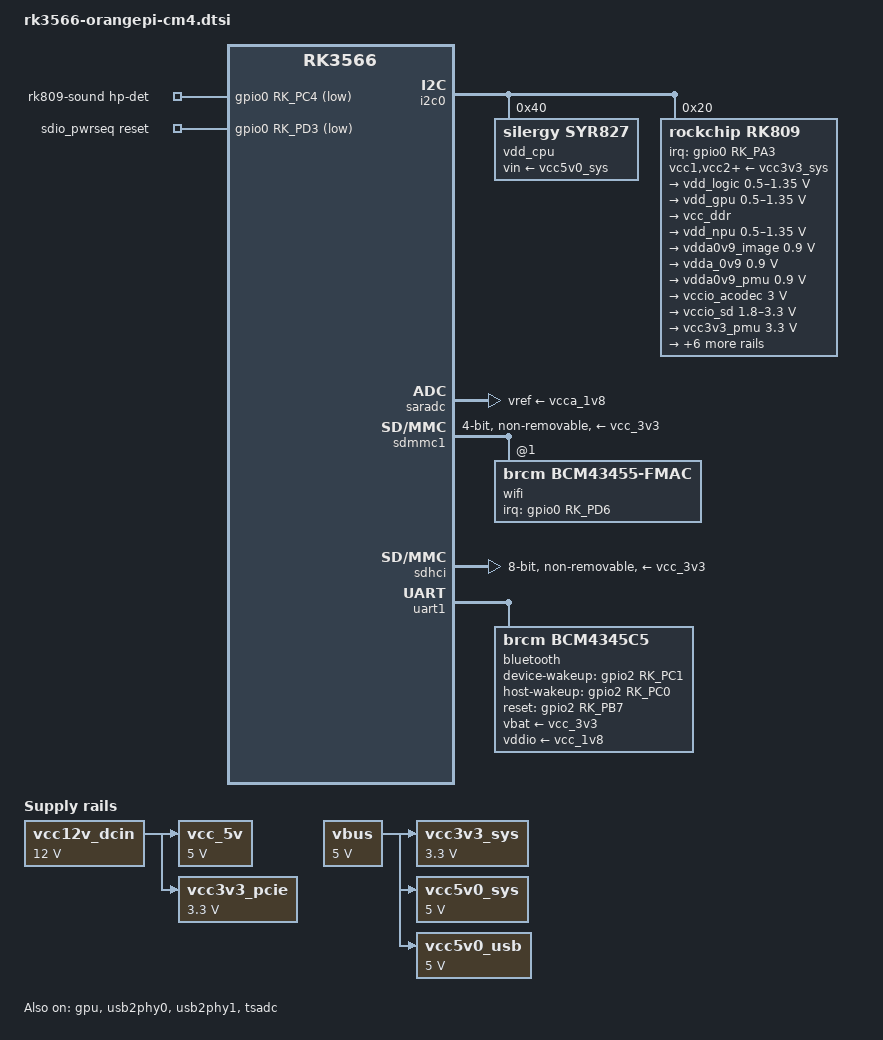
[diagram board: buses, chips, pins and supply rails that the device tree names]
// SPDX-License-Identifier: (GPL-2.0+ OR MIT)
/*
 * Copyright (c) 2022 Radxa Limited
 * Copyright (c) 2022 Amarula Solutions(India)
 */

#include <dt-bindings/gpio/gpio.h>
#include <dt-bindings/leds/common.h>

/ {
	compatible = "orangepi,cm4", "rockchip,rk3566";

	aliases {
		mmc0 = &sdhci;
	};

  /* TBD; no info in status LED on SoM
	leds {
		compatible = "gpio-leds";

		led-0 {
			gpios = <&gpio0 RK_PA6 GPIO_ACTIVE_HIGH>;
			color = <LED_COLOR_ID_GREEN>;
			function = LED_FUNCTION_STATUS;
			linux,default-trigger = "timer";
			default-state = "on";
			pinctrl-names = "default";
			pinctrl-0 = <&user_led2>;
		};
	};
  */

	rk809-sound {
		compatible = "simple-audio-card";
		pinctrl-names = "default";
		pinctrl-0 = <&hp_det>;
		simple-audio-card,name = "Analog RK809";
		simple-audio-card,format = "i2s";
		simple-audio-card,hp-det-gpio = <&gpio0 RK_PC4 GPIO_ACTIVE_LOW>;
		simple-audio-card,mclk-fs = <256>;
		simple-audio-card,widgets =
			"Headphone", "Headphones",
			"Speaker", "Speaker";
		simple-audio-card,routing =
			"Headphones", "HPOL",
			"Headphones", "HPOR",
			"Speaker", "SPKO";

		simple-audio-card,cpu {
			sound-dai = <&i2s1_8ch>;
		};

		simple-audio-card,codec {
			sound-dai = <&rk809>;
		};
	};

	/* labeled +12v in schematic */
	vcc12v_dcin: vcc12v-dcin-regulator {
		compatible = "regulator-fixed";
		regulator-name = "vcc12v_dcin";
		regulator-always-on;
		regulator-boot-on;
		regulator-min-microvolt = <12000000>;
		regulator-max-microvolt = <12000000>;
	};

  /* regulators copied from opi dts */

	/* labeled +5v in schematic */
	vcc_5v: vcc-5v-regulator {
		compatible = "regulator-fixed";
		regulator-name = "vcc_5v";
		regulator-always-on;
		regulator-boot-on;
		regulator-min-microvolt = <5000000>;
		regulator-max-microvolt = <5000000>;
		vin-supply = <&vcc12v_dcin>;
	};

	vbus: vbus {
		compatible = "regulator-fixed";
		regulator-name = "vbus";
		regulator-always-on;
		regulator-boot-on;
		regulator-min-microvolt = <5000000>;
		regulator-max-microvolt = <5000000>;
	};

	/* labeled +3.3v For PCIe only in schematic */
	vcc3v3_pcie: vcc3v3-pcie-regulator {
		compatible = "regulator-fixed";
		regulator-name = "vcc3v3_pcie";
		regulator-always-on;
		regulator-boot-on;
		regulator-min-microvolt = <3300000>;
		regulator-max-microvolt = <3300000>;
		vin-supply = <&vcc12v_dcin>;
	};

	vcc3v3_sys: vcc3v3-sys {
		compatible = "regulator-fixed";
		regulator-name = "vcc3v3_sys";
		regulator-always-on;
		regulator-boot-on;
		regulator-min-microvolt = <3300000>;
		regulator-max-microvolt = <3300000>;
		vin-supply = <&vbus>;
	};

	vcc5v0_sys: vcc5v0-sys {
		compatible = "regulator-fixed";
		regulator-name = "vcc5v0_sys";
		regulator-always-on;
		regulator-boot-on;
		regulator-min-microvolt = <5000000>;
		regulator-max-microvolt = <5000000>;
		vin-supply = <&vbus>;
	};

	vcc5v0_usb: vcc5v0-usb {
		compatible = "regulator-fixed";
		regulator-name = "vcc5v0_usb";
		regulator-always-on;
		regulator-boot-on;
		regulator-min-microvolt = <5000000>;
		regulator-max-microvolt = <5000000>;
		vin-supply = <&vbus>;
	};


	sdio_pwrseq: sdio-pwrseq {
		compatible = "mmc-pwrseq-simple";
		clocks = <&rk809 1>;
		clock-names = "ext_clock";
		pinctrl-names = "default";
		pinctrl-0 = <&wifi_enable_h>;

		/*
		 * On the module itself this is one of these (depending
		 * on the actual card populated):
		 * - SDIO_RESET_L_WL_REG_ON
		 * - PDN (power down when low)
		 */
		post-power-on-delay-ms = <200>;
		reset-gpios = <&gpio0 RK_PD3 GPIO_ACTIVE_LOW>;
	};
};

&cpu0 {
	cpu-supply = <&vdd_cpu>;
};

&cpu1 {
	cpu-supply = <&vdd_cpu>;
};

&cpu2 {
	cpu-supply = <&vdd_cpu>;
};

&cpu3 {
	cpu-supply = <&vdd_cpu>;
};

&gpu {
	mali-supply = <&vdd_gpu>;
	status = "okay";
};

&i2c0 {
	status = "okay";

	vdd_cpu: syr837@40 {
		compatible = "silergy,syr827";
		reg = <0x40>;
		vin-supply = <&vcc5v0_sys>;
		regulator-compatible = "fan53555-reg";
		regulator-name = "vdd_cpu";
		regulator-min-microvolt = <712500>;
		regulator-max-microvolt = <1390000>;
		regulator-init-microvolt = <900000>;
		regulator-initial-mode = <1>;
		regulator-ramp-delay = <2300>;
		fcs,suspend-voltage-selector = <1>;
		regulator-boot-on;
		regulator-always-on;
		regulator-state-mem {
			regulator-off-in-suspend;
		};
	};

	rk809: pmic@20 {
		compatible = "rockchip,rk809";
		reg = <0x20>;
		interrupt-parent = <&gpio0>;
		interrupts = <RK_PA3 IRQ_TYPE_LEVEL_LOW>;
		assigned-clocks = <&cru I2S1_MCLKOUT_TX>;
		assigned-clock-parents = <&cru CLK_I2S1_8CH_TX>;
		#clock-cells = <1>;
		clock-names = "mclk";
		clocks = <&cru I2S1_MCLKOUT_TX>;
		pinctrl-names = "default";
		pinctrl-0 = <&pmic_int>, <&i2s1m0_mclk>;
		rockchip,system-power-controller;
		#sound-dai-cells = <0>;
		vcc1-supply = <&vcc3v3_sys>;
		vcc2-supply = <&vcc3v3_sys>;
		vcc3-supply = <&vcc3v3_sys>;
		vcc4-supply = <&vcc3v3_sys>;
		vcc5-supply = <&vcc3v3_sys>;
		vcc6-supply = <&vcc3v3_sys>;
		vcc7-supply = <&vcc3v3_sys>;
		vcc8-supply = <&vcc3v3_sys>;
		vcc9-supply = <&vcc3v3_sys>;
		wakeup-source;

		pwrkey {
			status = "okay";
		};

		regulators {
			vdd_logic: DCDC_REG1 {
				regulator-name = "vdd_logic";
				regulator-always-on;
				regulator-boot-on;
				regulator-min-microvolt = <500000>;
				regulator-max-microvolt = <1350000>;
				regulator-init-microvolt = <900000>;
				regulator-ramp-delay = <6001>;
				regulator-initial-mode = <0x2>;
				regulator-state-mem {
					regulator-off-in-suspend;
				};
			};

			vdd_gpu: DCDC_REG2 {
				regulator-name = "vdd_gpu";
				regulator-always-on;
				regulator-boot-on;
				regulator-min-microvolt = <500000>;
				regulator-max-microvolt = <1350000>;
				regulator-init-microvolt = <900000>;
				regulator-ramp-delay = <6001>;
				regulator-initial-mode = <0x2>;
				regulator-state-mem {
					regulator-off-in-suspend;
				};
			};

			vcc_ddr: DCDC_REG3 {
				regulator-name = "vcc_ddr";
				regulator-always-on;
				regulator-boot-on;
				regulator-initial-mode = <0x2>;
				regulator-state-mem {
					regulator-on-in-suspend;
				};
			};

			vdd_npu: DCDC_REG4 {
				regulator-name = "vdd_npu";
				regulator-always-on;
				regulator-boot-on;
				regulator-min-microvolt = <500000>;
				regulator-max-microvolt = <1350000>;
				regulator-init-microvolt = <900000>;
				regulator-ramp-delay = <6001>;
				regulator-initial-mode = <0x2>;
				regulator-state-mem {
					regulator-off-in-suspend;
				};
			};

			vdda0v9_image: LDO_REG1 {
				regulator-name = "vdda0v9_image";
				regulator-boot-on;
				regulator-always-on;
				regulator-min-microvolt = <900000>;
				regulator-max-microvolt = <900000>;
				regulator-state-mem {
					regulator-off-in-suspend;
				};
			};

			vdda_0v9: LDO_REG2 {
				regulator-name = "vdda_0v9";
				regulator-always-on;
				regulator-boot-on;
				regulator-min-microvolt = <900000>;
				regulator-max-microvolt = <900000>;
				regulator-state-mem {
					regulator-off-in-suspend;
				};
			};

			vdda0v9_pmu: LDO_REG3 {
				regulator-name = "vdda0v9_pmu";
				regulator-always-on;
				regulator-boot-on;
				regulator-min-microvolt = <900000>;
				regulator-max-microvolt = <900000>;
				regulator-state-mem {
					regulator-on-in-suspend;
					regulator-suspend-microvolt = <900000>;
				};
			};

			vccio_acodec: LDO_REG4 {
				regulator-name = "vccio_acodec";
				regulator-always-on;
				regulator-boot-on;
				regulator-min-microvolt = <3000000>;
				regulator-max-microvolt = <3000000>;
				regulator-state-mem {
					regulator-off-in-suspend;
				};
			};

			vccio_sd: LDO_REG5 {
				regulator-name = "vccio_sd";
				regulator-always-on;
				regulator-boot-on;
				regulator-min-microvolt = <1800000>;
				regulator-max-microvolt = <3300000>;
				regulator-state-mem {
					regulator-off-in-suspend;
				};
			};

			vcc3v3_pmu: LDO_REG6 {
				regulator-name = "vcc3v3_pmu";
				regulator-always-on;
				regulator-boot-on;
				regulator-min-microvolt = <3300000>;
				regulator-max-microvolt = <3300000>;
				regulator-state-mem {
					regulator-on-in-suspend;
					regulator-suspend-microvolt = <3300000>;
				};
			};

			vcca_1v8: LDO_REG7 {
				regulator-name = "vcca_1v8";
				regulator-always-on;
				regulator-boot-on;
				regulator-min-microvolt = <1800000>;
				regulator-max-microvolt = <1800000>;
				regulator-state-mem {
					regulator-off-in-suspend;
				};
			};

			vcca1v8_pmu: LDO_REG8 {
				regulator-name = "vcca1v8_pmu";
				regulator-always-on;
				regulator-boot-on;
				regulator-min-microvolt = <1800000>;
				regulator-max-microvolt = <1800000>;
				regulator-state-mem {
					regulator-on-in-suspend;
					regulator-suspend-microvolt = <1800000>;
				};
			};

			vcca1v8_image: LDO_REG9 {
				regulator-name = "vcca1v8_image";
				regulator-always-on;
				regulator-boot-on;
				regulator-min-microvolt = <1800000>;
				regulator-max-microvolt = <1800000>;
				regulator-state-mem {
					regulator-off-in-suspend;
				};
			};

			vcc_1v8: DCDC_REG5 {
				regulator-name = "vcc_1v8";
				regulator-always-on;
				regulator-boot-on;
				regulator-min-microvolt = <1800000>;
				regulator-max-microvolt = <1800000>;
				regulator-state-mem {
					regulator-off-in-suspend;
				};
			};

			vcc_3v3: SWITCH_REG1 {
				regulator-name = "vcc_3v3";
				regulator-always-on;
				regulator-boot-on;
				regulator-state-mem {
					regulator-off-in-suspend;
				};
			};

			vcc3v3_sd: SWITCH_REG2 {
				regulator-name = "vcc3v3_sd";
				regulator-always-on;
				regulator-boot-on;
				regulator-state-mem {
					regulator-off-in-suspend;
				};
			};
		};

    /* from opi, codec was not configured in radxa dts ? where should we put this?
		rk809_codec: codec {
			#sound-dai-cells = <1>;
			compatible = "rockchip,rk809-codec", "rockchip,rk817-codec";
			clocks = <&cru I2S1_MCLKOUT>;
			clock-names = "mclk";
			assigned-clocks = <&cru I2S1_MCLKOUT>, <&cru I2S1_MCLK_TX_IOE>;
			assigned-clock-rates = <12288000>;
			assigned-clock-parents = <&cru I2S1_MCLKOUT_TX>, <&cru I2S1_MCLKOUT_TX>;
			pinctrl-names = "default";
			pinctrl-0 = <&i2s1m0_mclk>;
			hp-volume = <20>;
			spk-volume = <3>;
			mic-in-differential;
			status = "okay";
		};
   */
	};
};

&pinctrl {
  /*
	wireless-bluetooth {
		uart1_gpios: uart1-gpios {
			rockchip,pins = <2 RK_PB5 RK_FUNC_GPIO &pcfg_pull_none>;
		};
	};
  */
	bluetooth {
		bt_host_wake_h: bt-host-wake-h {
			rockchip,pins = <2 RK_PB2 RK_FUNC_GPIO &pcfg_pull_none>;
		};

		bt_reg_on_h: bt-reg-on-h {
			rockchip,pins = <2 RK_PC0 RK_FUNC_GPIO &pcfg_pull_none>;
		};

		bt_wake_host_h: bt-wake-host-h {
			rockchip,pins = <2 RK_PB1 RK_FUNC_GPIO &pcfg_pull_none>;
		};
	};

	pmic {
		pmic_int: pmic_int {
			rockchip,pins =
				<0 RK_PA3 RK_FUNC_GPIO &pcfg_pull_up>;
		};
	};

  /* TBD: looks like no LED on the CM4 module
	leds {
		user_led2: user-led2 {
			rockchip,pins = <0 RK_PA6 RK_FUNC_GPIO &pcfg_pull_none>;
		};
	};
  */

  /* from opi*/
	sdio-pwrseq {
		wifi_enable_h: wifi-enable-h {
			rockchip,pins = <0 RK_PD3 RK_FUNC_GPIO &pcfg_pull_none>;
		};
	};

  /* from radxa, do we keep the wake ??
 */
	wifi {
		wifi_reg_on_h: wifi-reg-on-h {
			rockchip,pins = <0 RK_PD3 RK_FUNC_GPIO &pcfg_pull_none>;
		};

		wifi_host_wake_h: wifi-host-wake-h {
			rockchip,pins = <2 RK_PD6 RK_FUNC_GPIO &pcfg_pull_none>;
		};
	};
};

 /*
  * There are 10 independent IO domains in RK3566/RK3568, including PMUIO[0:2] and VCCIO[1:7].
  * 1/ PMUIO0 and PMUIO1 are fixed-level power domains which cannot be configured;
  * 2/ PMUIO2 and VCCIO1,VCCIO[3:7] domains require that their hardware power supply voltages
  *    must be consistent with the software configuration correspondingly
  *	a/ When the hardware IO level is connected to 1.8V, the software voltage configuration
  *	   should also be configured to 1.8V accordingly;
  *	b/ When the hardware IO level is connected to 3.3V, the software voltage configuration
  *	   should also be configured to 3.3V accordingly;
  * 3/ VCCIO2 voltage control selection (0xFDC20140)
  *	BIT[0]: 0x0: from GPIO_0A7 (default)
  *	BIT[0]: 0x1: from GRF
  *    Default is determined by Pin FLASH_VOL_SEL/GPIO0_A7:
  *	L:VCCIO2 must supply 3.3V
  *	H:VCCIO2 must supply 1.8V
  */

&pmu_io_domains {
        pmuio1-supply = <&vcc3v3_pmu>;
        pmuio2-supply = <&vcc3v3_pmu>;
        vccio1-supply = <&vcc_3v3>;
        vccio2-supply = <&vcc_1v8>;
        vccio3-supply = <&vccio_sd>;
        vccio4-supply = <&vcc_1v8>;
        vccio5-supply = <&vcc_3v3>;
        vccio6-supply = <&vcc_3v3>;
        vccio7-supply = <&vcc_3v3>;
        status = "okay";
};

&saradc {
	vref-supply = <&vcca_1v8>;
	status = "okay";
};

&sdmmc1 {
	#address-cells = <1>;
	#size-cells = <0>;
	bus-width = <4>;
	disable-wp;
	cap-sd-highspeed;
	cap-sdio-irq;
	keep-power-in-suspend;
	mmc-pwrseq = <&sdio_pwrseq>;
	non-removable;
	pinctrl-names = "default";
	pinctrl-0 = <&sdmmc1_bus4 &sdmmc1_cmd &sdmmc1_clk>;
	sd-uhs-sdr104;
  /* TBD: voltages not defined in opi dts */
	vmmc-supply = <&vcc_3v3>;
	vqmmc-supply = <&vcc_1v8>;
	status = "okay";

	wifi@1 {
		compatible = "brcm,bcm43455-fmac";
		reg = <1>;
		interrupt-parent = <&gpio0>;
		interrupts = <RK_PD6 IRQ_TYPE_LEVEL_HIGH>;
		interrupt-names = "host-wake";
		pinctrl-names = "default";
		pinctrl-0 = <&wifi_host_wake_h>;
	};
};

&sdhci {
	bus-width = <8>;
	max-frequency = <200000000>;
	mmc-hs200-1_8v;
	non-removable;
  /* these two come from opi dts */
	no-sdio;
	no-sd;
	pinctrl-names = "default";
	pinctrl-0 = <&emmc_clk &emmc_cmd &emmc_bus8>;
	vmmc-supply = <&vcc_3v3>;
	vqmmc-supply = <&vcc_1v8>;
	status = "okay";
};

&uart1 {
	pinctrl-names = "default";
	pinctrl-0 = <&uart1m0_xfer &uart1m0_ctsn>;
	status = "okay";

	bluetooth {
		compatible = "brcm,bcm4345c5";
		clocks = <&rk809 1>;
		clock-names = "ext_clock";
		device-wakeup-gpios = <&gpio2 RK_PC1 GPIO_ACTIVE_HIGH>;
		host-wakeup-gpios = <&gpio2 RK_PC0 GPIO_ACTIVE_HIGH>;
		reset-gpios = <&gpio2 RK_PB7 GPIO_ACTIVE_HIGH>;
		pinctrl-names = "default";
		pinctrl-0 = <&bt_host_wake_h &bt_reg_on_h &bt_wake_host_h>;
		/* TBD: no supply defeind in opi dts
    */
    vbat-supply = <&vcc_3v3>;
		vddio-supply = <&vcc_1v8>;
	};
};

&usb2phy0 {
	status = "okay";
};

&usb2phy1 {
	status = "okay";
};

&tsadc {
  /* TBD: there was no config in opi
	rockchip,hw-tshut-mode = <1>;
	rockchip,hw-tshut-polarity = <0>;
  */
	status = "okay";
};
